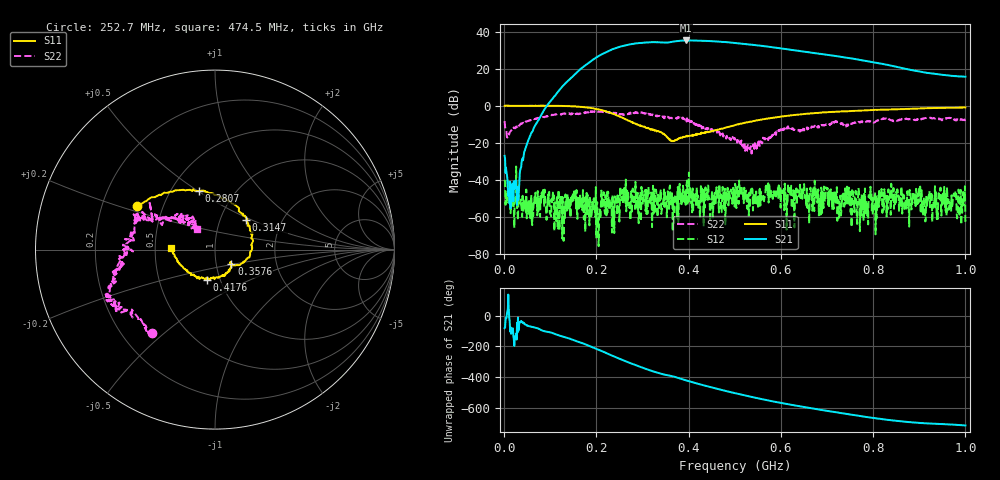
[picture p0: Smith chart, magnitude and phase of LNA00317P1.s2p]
! Created with skrf 1.9.0 (http://scikit-rf.org).
# Hz S RI R 50.0
!freq ReS11 ImS11 ReS21 ImS21 ReS12 ImS12 ReS22 ImS22
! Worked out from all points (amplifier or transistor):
!   1001 points, 1 MHz to 1 GHz, reference 50 ohm
!   highest |S21| = 35.2 dB at 394.6 MHz (marker M1)
!   |S21| within 3 dB of that: 256.8 MHz to 561 MHz (304.2 MHz wide, 74.4 % of centre)
!   unconditionally stable (mu >= 1): start of sweep to 78.79 MHz; 298 MHz to 396.4 MHz; 400.9 MHz to end of sweep (the widest 3 of 29)
!   at 166.8 MHz: K = 1.21, MAG = 33.3 dB, |S12| = -52.2 dB
!   at 500.5 MHz: K = 1.37, MAG = 34.4 dB, |S12| = -42.1 dB
!   at 1 GHz: K = 18.46, MAG = 23.5 dB, |S12| = -62.7 dB
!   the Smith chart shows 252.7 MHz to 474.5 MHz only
!   S11 on the Smith chart (normalised r, x): 252.7 MHz: 0.36, +0.23; 280.7 MHz: 0.68, +0.50; 314.7 MHz: 1.33, +0.46; 357.6 MHz: 1.18, -0.20; 417.6 MHz: 0.86, -0.30; 474.5 MHz: 0.61, +0.02
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1000000  0.9876 0.00486  0.00705 -0.0439  -0.00949 -0.00317  0.2784 0.2639
1.08892e8  0.5142 -0.8517  -0.8331 -1.58  -4.72e-05 0.000416  0.4395 -0.3743
1.67833e8  -0.24 -0.8952  -10.24 -0.5173  -0.00163 0.000846  0.0499 -0.6336
2.12788e8  -0.6754 -0.325  -15.18 19.49  0.000179 -0.00326  -0.1898 -0.6494
2.31769e8  -0.6352 -0.0124  -7.209 31.19  -0.00161 -0.000688  -0.277 -0.587
2.52748e8  -0.4328 0.2431  9.065 38.46  -0.00301 0.00138  -0.3487 -0.4674
2.8072e8  -0.0919 0.3269  34.05 32.12  9.72e-05 -0.00234  -0.5645 -0.3032
3.14686e8  0.1731 0.163  50.82 5.067  -0.00367 8.59e-06  -0.5661 -0.1586
3.34666e8  0.2049 -0.00165  49.98 -11.88  -0.0021 0.00122  -0.5297 -0.0467
3.57643e8  0.0914 -0.0814  44.58 -24.9  0.00138 -0.000893  -0.4681 0.0965
3.73627e8  0.0907 -0.0805  41.34 -36.85  -0.000271 0.00311  -0.4433 0.1595
3.94606e8  0.0525 -0.1439  27.77 -50.27  0.00229 0.00628  -0.3964 0.1991
4.17583e8  -0.0454 -0.17  8.849 -56.14  -0.000498 0.00629  -0.225 0.1773
4.45555e8  -0.1654 -0.1088  -12.74 -53.69  0.00248 0.00163  -0.1527 0.1648
4.74526e8  -0.2437 0.0117  -30.69 -42.5  0.00567 -9.67e-05  -0.1001 0.1127
5.005e8  -0.256 0.153  -40.11 -28.88  0.00673 -0.00399  -0.1055 0.0587
5.36464e8  -0.1855 0.3249  -43.18 -8.447  0.00177 -0.00461  -0.05 -0.00988
5.83417e8  0.0119 0.4748  -35.45 11.71  0.00415 -0.00188  -0.1384 -0.0889
6.67333e8  0.4013 0.4754  -12.01 23.8  -0.000977 -0.00342  -0.2641 -0.0558
7.53247e8  0.6666 0.2706  4.681 18.12  6.63e-05 -0.000528  -0.3193 0.0222
8.34166e8  0.7878 0.016  9.254 8.191  -0.000948 -0.0027  -0.4203 0.0798
1e9  0.7243 -0.5279  6.03 0.6078  -0.000397 -0.00062  -0.1885 0.379
